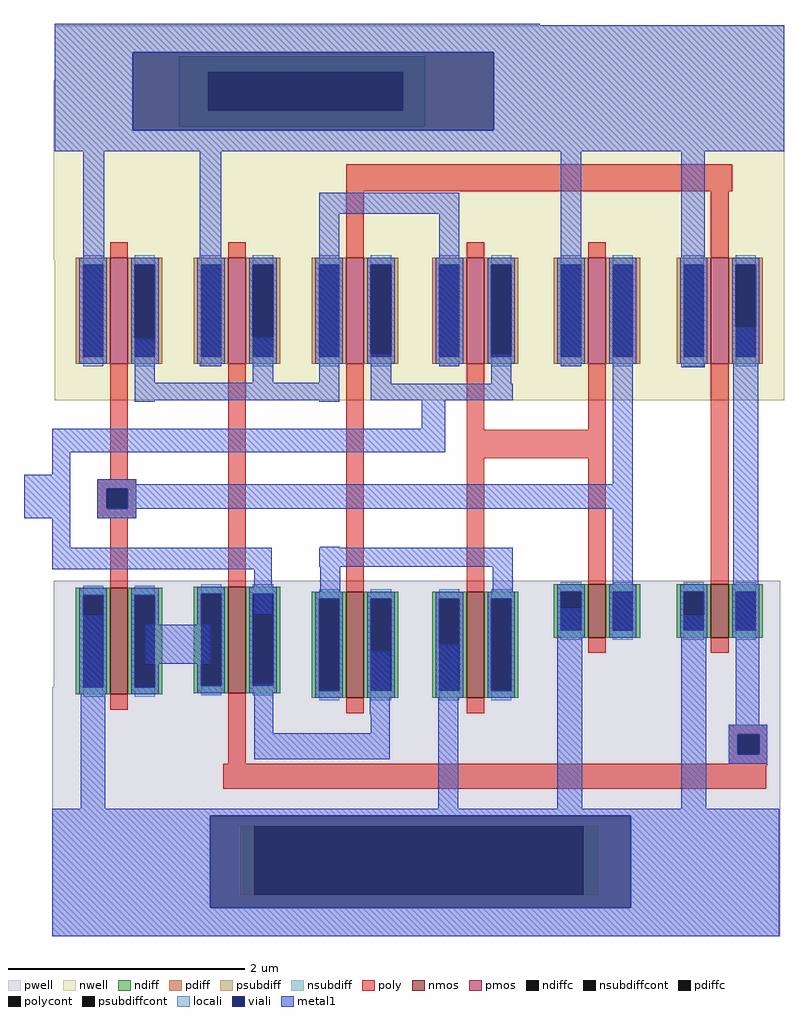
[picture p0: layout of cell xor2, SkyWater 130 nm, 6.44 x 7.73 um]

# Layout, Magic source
magic
tech sky130A
magscale 1 2
<< nwell >>
rect 0 542 1236 636
rect -2 238 1236 542
rect 0 206 1236 238
rect 134 0 686 30
rect 818 0 1236 206
<< pwell >>
rect -2 -486 1230 -306
rect -4 -908 1230 -486
<< psubdiff >>
rect 314 -838 338 -722
rect 896 -838 920 -722
<< nsubdiff >>
rect 210 556 628 584
rect 210 492 260 556
rect 590 492 628 556
rect 210 464 628 492
<< psubdiffcont >>
rect 338 -838 896 -722
<< nsubdiffcont >>
rect 260 492 590 556
<< poly >>
rect 494 354 1148 400
rect 494 268 524 354
rect 1112 260 1142 354
rect 94 -134 124 42
rect 72 -150 138 -134
rect 72 -184 88 -150
rect 124 -184 138 -150
rect 72 -200 138 -184
rect 94 -304 124 -200
rect 294 -302 324 44
rect 494 -302 524 44
rect 698 -50 728 44
rect 904 -50 934 40
rect 698 -98 934 -50
rect 698 -302 728 -98
rect 904 -306 934 -98
rect 1112 -304 1142 42
rect 294 -616 324 -512
rect 1142 -566 1208 -550
rect 1142 -600 1158 -566
rect 1194 -600 1208 -566
rect 1142 -616 1208 -600
rect 286 -618 1208 -616
rect 286 -658 1206 -618
<< polycont >>
rect 88 -184 124 -150
rect 1158 -600 1194 -566
<< locali >>
rect 72 -150 138 -134
rect 72 -184 88 -150
rect 124 -184 138 -150
rect 72 -200 138 -184
rect 1142 -566 1208 -550
rect 1142 -600 1158 -566
rect 1194 -600 1208 -566
rect 1142 -616 1208 -600
<< viali >>
rect 132 556 744 590
rect 132 492 260 556
rect 260 492 590 556
rect 590 492 744 556
rect 132 458 744 492
rect 88 -184 124 -150
rect 1158 -600 1194 -566
rect 264 -722 976 -704
rect 264 -838 338 -722
rect 338 -838 896 -722
rect 896 -838 976 -722
rect 264 -860 976 -838
<< metal1 >>
rect 0 636 822 638
rect 0 590 1236 636
rect 0 458 132 590
rect 744 458 1236 590
rect 0 422 1236 458
rect 48 62 84 422
rect 136 30 170 104
rect 246 58 282 422
rect 448 316 686 352
rect 336 30 370 106
rect 448 30 482 316
rect 136 0 482 30
rect 536 28 570 78
rect 652 58 686 316
rect 740 28 774 78
rect 858 58 892 422
rect 536 0 776 28
rect 136 -2 170 0
rect 448 -2 482 0
rect 622 -48 662 0
rect -4 -88 662 -48
rect -4 -126 26 -88
rect -52 -200 26 -126
rect 72 -142 138 -134
rect 946 -142 980 230
rect 1062 56 1102 422
rect 72 -150 980 -142
rect 72 -184 88 -150
rect 124 -184 980 -150
rect 72 -200 138 -184
rect -4 -250 26 -200
rect 450 -250 484 -248
rect -4 -286 368 -250
rect 448 -282 776 -250
rect 338 -362 368 -286
rect 450 -332 484 -282
rect 742 -334 776 -282
rect 44 -692 86 -364
rect 154 -446 264 -380
rect 338 -564 370 -480
rect 534 -532 568 -426
rect 536 -564 568 -532
rect 338 -608 568 -564
rect 650 -692 684 -414
rect 852 -692 894 -352
rect 946 -388 980 -184
rect 1062 -692 1104 -364
rect 1150 -366 1192 124
rect 1150 -394 1194 -366
rect 1154 -550 1194 -394
rect 1142 -566 1208 -550
rect 1142 -600 1158 -566
rect 1194 -600 1208 -566
rect 1142 -616 1208 -600
rect -4 -704 1228 -692
rect -4 -860 264 -704
rect 976 -860 1228 -704
rect -4 -908 1228 -860
use sky130_fd_pr__nfet_01v8_P8KVP3  sky130_fd_pr__nfet_01v8_P8KVP3_1
transform 1 0 309 0 1 -406
box -73 -116 73 116
use sky130_fd_pr__nfet_01v8_P8KVP3  sky130_fd_pr__nfet_01v8_P8KVP3_0
transform 1 0 109 0 1 -408
box -73 -116 73 116
use sky130_fd_pr__nfet_01v8_P8KVP3  sky130_fd_pr__nfet_01v8_P8KVP3_2
transform 1 0 509 0 1 -414
box -73 -116 73 116
use sky130_fd_pr__nfet_01v8_J836M4  sky130_fd_pr__nfet_01v8_J836M4_0
transform 1 0 919 0 1 -357
box -73 -71 73 71
use sky130_fd_pr__nfet_01v8_P8KVP3  sky130_fd_pr__nfet_01v8_P8KVP3_3
transform 1 0 713 0 1 -414
box -73 -116 73 116
use sky130_fd_pr__nfet_01v8_J836M4  sky130_fd_pr__nfet_01v8_J836M4_1
transform 1 0 1127 0 1 -357
box -73 -71 73 71
use sky130_fd_pr__pfet_01v8_5AYHFE  sky130_fd_pr__pfet_01v8_5AYHFE_0
transform 1 0 109 0 1 152
box -109 -152 109 152
use sky130_fd_pr__pfet_01v8_5AYHFE  sky130_fd_pr__pfet_01v8_5AYHFE_1
transform 1 0 309 0 1 152
box -109 -152 109 152
use sky130_fd_pr__pfet_01v8_5AYHFE  sky130_fd_pr__pfet_01v8_5AYHFE_2
transform 1 0 509 0 1 152
box -109 -152 109 152
use sky130_fd_pr__pfet_01v8_5AYHFE  sky130_fd_pr__pfet_01v8_5AYHFE_3
transform 1 0 713 0 1 152
box -109 -152 109 152
use sky130_fd_pr__pfet_01v8_5AYHFE  sky130_fd_pr__pfet_01v8_5AYHFE_4
transform 1 0 919 0 1 152
box -109 -152 109 152
use sky130_fd_pr__pfet_01v8_5AYHFE  sky130_fd_pr__pfet_01v8_5AYHFE_5
transform 1 0 1127 0 1 152
box -109 -152 109 152
<< end >>

# cell sky130_fd_pr__nfet_01v8_P8KVP3: kit device sky130_fd_pr__nfet_01v8, w 0.9 l 0.150 m 1 nf 1 diffcov 100 polycov 100 guard 0 glc 0 grc 0 gtc 0 gbc 0 tbcov 100 rlcov 100 topc 0 botc 0 poverlap 0 doverlap 1 lmin 0.15 wmin 0.42 compatible {sky130_fd_pr__nfet_01v8 sky130_fd_pr__nfet_01v8_lvt sky130_fd_bs_flash__special_sonosfet_star sky130_fd_pr__nfet_g5v0d10v5 sky130_fd_pr__nfet_05v0_nvt} full_metal 0 viasrc 100 viadrn 100 viagate 100 viagb 0 viagr 0 viagl 0 viagt 0

# cell sky130_fd_pr__nfet_01v8_J836M4: kit device sky130_fd_pr__nfet_01v8, w 0.45 l 0.150 m 1 nf 1 diffcov 100 polycov 100 guard 0 glc 0 grc 0 gtc 0 gbc 0 tbcov 100 rlcov 100 topc 0 botc 0 poverlap 0 doverlap 1 lmin 0.15 wmin 0.42 compatible {sky130_fd_pr__nfet_01v8 sky130_fd_pr__nfet_01v8_lvt sky130_fd_bs_flash__special_sonosfet_star sky130_fd_pr__nfet_g5v0d10v5 sky130_fd_pr__nfet_05v0_nvt} full_metal 0 viasrc 100 viadrn 100 viagate 100 viagb 0 viagr 0 viagl 0 viagt 0

# cell sky130_fd_pr__pfet_01v8_5AYHFE: kit device sky130_fd_pr__pfet_01v8, w 0.9 l 0.15 m 1 nf 1 diffcov 100 polycov 100 guard 0 glc 0 grc 0 gtc 0 gbc 0 tbcov 100 rlcov 100 topc 0 botc 0 poverlap 0 doverlap 1 lmin 0.15 wmin 0.42 compatible {sky130_fd_pr__pfet_01v8 sky130_fd_pr__pfet_01v8_lvt sky130_fd_pr__pfet_01v8_hvt sky130_fd_pr__pfet_g5v0d10v5} full_metal 0 viasrc 100 viadrn 100 viagate 100 viagb 0 viagr 0 viagl 0 viagt 0
